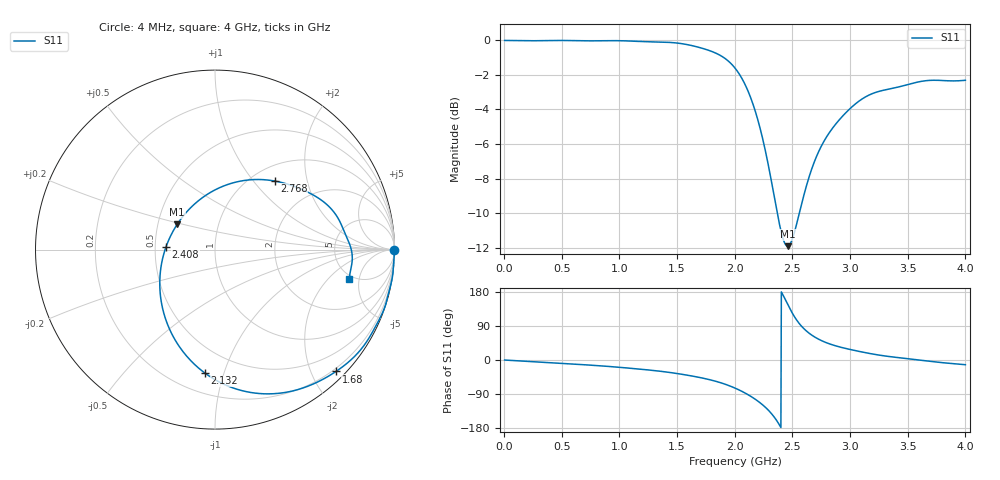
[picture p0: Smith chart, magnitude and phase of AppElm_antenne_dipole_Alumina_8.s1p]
! TOUCHSTONE file generated by CST MICROWAVE STUDIO
! Date and time: Sat May 14 10:03:00 2022
! Project name: AppElm_antenne_dipole_Alumina.cst
! Parameters = {L=33; e=0.035; f=2.45e+09; h=1.6; i=0.88; l1=2; lambda=122.449; ls=30; wl=1.7; ws=80}
! Header version: 2018
! Port assignment regex: !\s*Touchstone port\s*([0-9]+)\s*=\s*(CST MWS port|CST DS port)\s*([0-9]+|Zmin|Zmax)\s*\(\"(.*)\"\)(\s*mode\s*([0-9]+))?.*
! Touchstone port assignment:
! Touchstone port 1 = CST MWS port 1 ("")
# GHz S MA R 50
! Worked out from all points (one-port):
!   1000 points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, 4 MHz to 4 GHz, reference 50 ohm
!   lowest |S11| = -11.9 dB at 2.46 GHz (marker M1), VSWR 1.68, Z = 31.5 + j9.48 ohm
!   |S11| at or under -10 dB: 2.368 GHz to 2.56 GHz (191.8 MHz wide, 7.78 % of centre)
!   S11 on the Smith chart (normalised r, x): 4 MHz: open; 1.68 GHz: 0.15, -2.40; 2.132 GHz: 0.33, -0.87; 2.408 GHz: 0.57, +0.02; 2.768 GHz: 1.26, +1.29; 4 GHz: 4.56, -3.65
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0.004  1 -0.1
0.504  0.9999 -8.8
1.004  0.9983 -19.4
1.316  0.9901 -28.4
1.504  0.9825 -35.9
1.68  0.9569 -45.2
1.772  0.9367 -51.2
1.852  0.9133 -57.6
1.936  0.8762 -66.0
2.004  0.8302 -74.4
2.068  0.7696 -83.7
2.132  0.6908 -94.6
2.212  0.5692 -111.1
2.28  0.4541 -129.0
2.344  0.3503 -151.4
2.408  0.2741 177.4
2.46  0.2535 146.3
2.504  0.2689 121.1
2.564  0.32 94.4
2.624  0.3817 75.8
2.688  0.4432 61.6
2.768  0.5066 48.9
2.872  0.5705 37.6
3.004  0.6366 27.5
3.208  0.7046 15.1
3.504  0.7456 3.4
3.688  0.7661 -3.2
4  0.7667 -12.4
